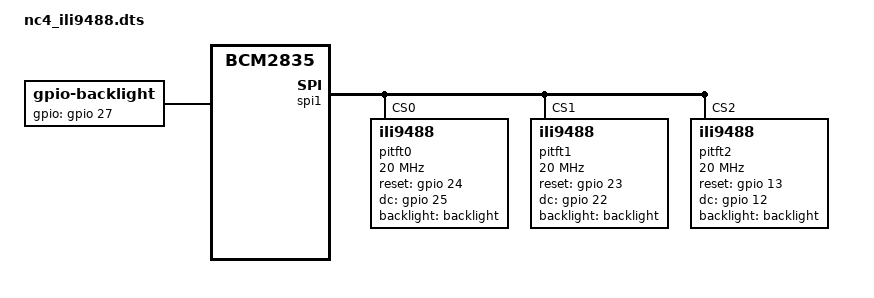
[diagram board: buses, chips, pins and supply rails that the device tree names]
/********************************************************************************
 * nc4_ili9488.dts
 *
 * Device Tree Overlay for three ILI9488 panels on the Raspberry Pi's SPI1 bus.
 * - Disables spidev1.0 (CS0), spidev1.1 (CS1), and spidev1.2 (CS2).
 * - Creates three SPI child nodes: pitft0@0 (CE0), pitft1@1 (CE1), and pitft2@2 (CE2).
 * - Each panel has its own Reset and DC lines.
 * - Shared backlight on GPIO27.
 *
 * Compatible usage:
 *   dtoverlay=nc4_ili9488
 ********************************************************************************/
 /dts-v1/;
/plugin/;

/ {
	compatible = "brcm,bcm2835";

	/****************************************************************************
	 * Fragment 0: Enable SPI1 hardware and define parent node for child LCDs
	 *    - We explicitly set #address-cells and #size-cells here so each child
	 *      node's reg property (chip select number) is recognized properly.
	 *    - We also define all three pitft panels in this fragment so dtc won't
	 *      complain about default address/size cells across multiple fragments.
	 ****************************************************************************/
	fragment@0 {
		target = <&spi1>;
		__overlay__ {
			status = "okay";
			#address-cells = <1>;
			#size-cells = <0>;

			pitft0: pitft0@0 {
				compatible = "ili9488";
				pinctrl-names = "default";
				pinctrl-0 = <&pitft0_pins>;

				reg = <0>; /* CE0 */
				spi-max-frequency = <20000000>;

				rotation = <0>;
				reset-gpios = <&gpio 24 0>;
				dc-gpios = <&gpio 25 0>;
				backlight = <&backlight>;
			};

			pitft1: pitft1@1 {
				compatible = "ili9488";
				pinctrl-names = "default";
				pinctrl-0 = <&pitft1_pins>;

				reg = <1>; /* CE1 */
				spi-max-frequency = <20000000>;

				rotation = <0>;
				reset-gpios = <&gpio 23 0>;
				dc-gpios = <&gpio 22 0>;
				backlight = <&backlight>;
			};

			pitft2: pitft2@2 {
				compatible = "ili9488";
				pinctrl-names = "default";
				pinctrl-0 = <&pitft2_pins>;

				reg = <2>; /* CE2 */
				spi-max-frequency = <20000000>;

				rotation = <0>;
				reset-gpios = <&gpio 13 0>;
				dc-gpios = <&gpio 12 0>;
				backlight = <&backlight>;
			};
		};
	};

	/****************************************************************************
	 * Fragment 1-3: Disable the default spidev devices (SPI1, CS0/1/2)
	 *    - This is valid only if the base DT or an included overlay (like spi1-3cs)
	 *      actually labels these spidev nodes as spidev1_0, spidev1_1, spidev1_2.
	 ****************************************************************************/
	fragment@1 {
		target = <&spidev1_0>;
		__overlay__ {
			status = "disabled";
		};
	};

	fragment@2 {
		target = <&spidev1_1>;
		__overlay__ {
			status = "disabled";
		};
	};

	fragment@3 {
		target = <&spidev1_2>;
		__overlay__ {
			status = "disabled";
		};
	};

	/****************************************************************************
	 * Fragment 4: GPIO pins for the LCD_0 panel (pitft0)
	 *   GPIO24 = RESET (out)
	 *   GPIO25 = DC (out)
	 *   GPIO27 = Backlight (out, shared)
	 ****************************************************************************/
	fragment@4 {
		target = <&gpio>;
		__overlay__ {
			pitft0_pins: pitft0_pins {
				brcm,pins = <24 25>;
				brcm,function = <1 1>; /* Set as output */
			};
		};
	};

	/****************************************************************************
	 * Fragment 5: GPIO pins for the LCD_1 panel (pitft1)
	 *   GPIO23 = RESET (out)
	 *   GPIO22 = DC (out)
	 *   GPIO27 = Backlight (out, shared)
	 ****************************************************************************/
	fragment@5 {
		target = <&gpio>;
		__overlay__ {
			pitft1_pins: pitft1_pins {
				brcm,pins = <23 22>;
				brcm,function = <1 1>; /* Set as output */
			};
		};
	};

	/****************************************************************************
	 * Fragment 6: GPIO pins for the LCD_2 panel (pitft2)
	 *   GPIO13 = RESET (out)
	 *   GPIO12 = DC (out)
	 *   GPIO27 = Backlight (out, shared)
	 ****************************************************************************/
	fragment@6 {
		target = <&gpio>;
		__overlay__ {
			pitft2_pins: pitft2_pins {
				brcm,pins = <13 12>;
				brcm,function = <1 1>; /* Set as output */
			};
		};
	};

	/****************************************************************************
	 * Fragment 7: Shared backlight control for all panels
	 ****************************************************************************/
	fragment@7 {
		target-path = "/soc";
		__overlay__ {
			backlight: backlight {
				compatible = "gpio-backlight";
				gpios = <&gpio 27 0>;
			};
		};
	};

	/****************************************************************************
	 * Overridable parameters for speed and rotation
	 ****************************************************************************/
	__overrides__ {
		speed = <&pitft0>,"spi-max-frequency:0",
			 <&pitft1>,"spi-max-frequency:0",
			 <&pitft2>,"spi-max-frequency:0";
		rotation = <&pitft0>,"rotation:0",
			    <&pitft1>,"rotation:0",
			    <&pitft2>,"rotation:0";
	};
};
